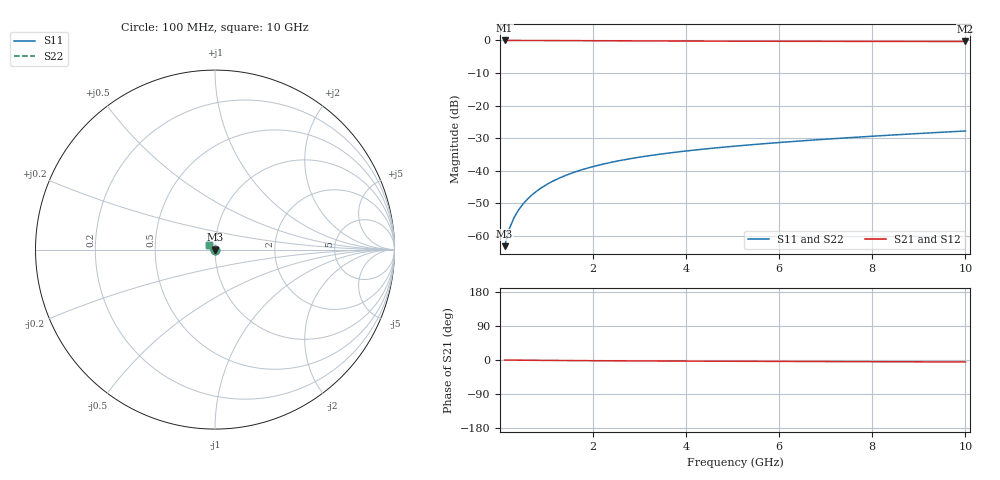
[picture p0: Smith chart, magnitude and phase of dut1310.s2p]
! Touchstone file exported from HFSS 2024.1.0
!  File:  C:/UserFiles/LocalFiles/RDL_TSV_Batchsim/temp_TSV1_1310_1780373407.aedt
!  Generated:  12:16:23 PM Jun  2, 2026
!  Design:  TSV1
!  Project:  temp_TSV1_1310_1780373407
!  Setup:  Setup1
!  Solution:  Sweep
! Variables:
!  dtsv = 6.65um
!  hbump = 3um
!  htsv = 74.28um
!  lrdl = 252.1521522um
!  p = 40
!  p1 = 58.5um
!  t = 500um
!  trdl = 3um
!  wrdl = 24.89489489um
# GHz S MA R 50.000000
! Terminal data exported
! Port[1] = TSV22_T1
! Port[2] = TSV22_T2
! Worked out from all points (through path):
!   100 points, 100 MHz to 10 GHz, reference 50 ohm
!   highest |S21| = 0.00 dB at 100 MHz (marker M1); lowest = -0.3 dB at 10 GHz (marker M2)
!   lowest |S11| = -63.2 dB at 100 MHz (marker M3), VSWR 1.00, Z = 50 - j0.0633 ohm
!   |S11| at or under -10 dB: start of sweep to end of sweep
!   |S22| runs from -63.2 to -27.8 dB; largest |S21 - S12| = 3.1e-15
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0.1  0.0006921 -66.1  0.9997 -0.1  0.9997 -0.1  0.0006921 -66.1
! Gamma 0 0 0 0
! Port Impedance 50 0 50 0
0.2  0.001277 -81.2  0.9996 -0.2  0.9996 -0.2  0.001277 -81.2
0.3  0.001882 -88.3  0.9994 -0.3  0.9994 -0.3  0.001882 -88.3
0.4  0.002493 -93.2  0.9992 -0.4  0.9992 -0.4  0.002493 -93.2
0.5  0.003103 -97.2  0.9989 -0.5  0.9989 -0.5  0.003103 -97.2
0.6  0.003712 -100.6  0.9986 -0.6  0.9986 -0.6  0.003712 -100.6
0.7  0.004317 -103.8  0.9983 -0.7  0.9983 -0.7  0.004317 -103.8
0.8  0.004918 -106.7  0.9979 -0.8  0.9979 -0.8  0.004918 -106.7
0.9  0.005514 -109.6  0.9974 -0.9  0.9974 -0.9  0.005514 -109.6
1.1  0.006685 -114.9  0.9964 -1.1  0.9964 -1.1  0.006685 -114.9
1.4  0.008385 -122.4  0.9947 -1.4  0.9947 -1.4  0.008385 -122.4
1.6  0.009475 -127.1  0.9935 -1.5  0.9935 -1.5  0.009475 -127.1
1.8  0.01053 -131.6  0.9922 -1.7  0.9922 -1.7  0.01053 -131.6
2.1  0.01204 -138.0  0.9902 -1.9  0.9902 -1.9  0.01204 -138.0
2.5  0.01393 -146.0  0.9875 -2.2  0.9875 -2.2  0.01393 -146.0
2.9  0.01569 -153.4  0.985 -2.4  0.985 -2.4  0.01569 -153.4
3.4  0.01775 -161.8  0.982 -2.6  0.982 -2.6  0.01775 -161.8
4.2  0.02078 -173.5  0.9779 -3.0  0.9779 -3.0  0.02078 -173.5
5.1  0.02397 175.4  0.9742 -3.4  0.9742 -3.4  0.02397 175.4
6.7  0.0294 159.9  0.9696 -4.0  0.9696 -4.0  0.0294 159.9
8.4  0.03515 147.7  0.9664 -4.6  0.9664 -4.6  0.03515 147.7
10  0.04068 139.0  0.9642 -5.2  0.9642 -5.2  0.04068 139.0
